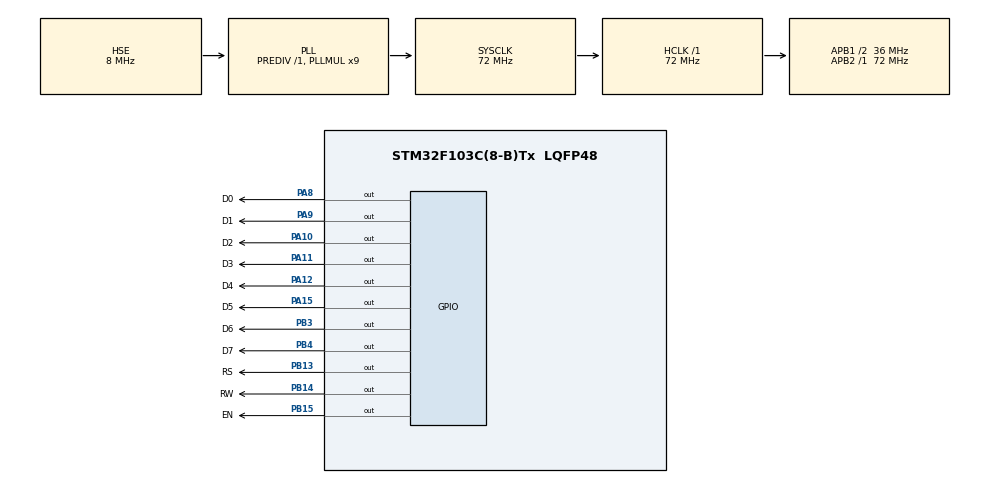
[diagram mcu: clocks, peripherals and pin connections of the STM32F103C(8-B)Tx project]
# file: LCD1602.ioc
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Mcu.Family=STM32F1
Mcu.Name=STM32F103C(8-B)Tx
Mcu.Package=LQFP48
NVIC.PriorityGroup=NVIC_PRIORITYGROUP_4
PA10.GPIO_Label=D2
PA10.GPIO_Speed=GPIO_SPEED_FREQ_HIGH
PA10.Signal=GPIO_Output
PA11.GPIO_Label=D3
PA11.GPIO_Speed=GPIO_SPEED_FREQ_HIGH
PA11.Signal=GPIO_Output
PA12.GPIO_Label=D4
PA12.GPIO_Speed=GPIO_SPEED_FREQ_HIGH
PA12.Signal=GPIO_Output
PA13.Mode=Serial_Wire
PA13.Signal=SYS_JTMS-SWDIO
PA14.Mode=Serial_Wire
PA14.Signal=SYS_JTCK-SWCLK
PA15.GPIO_Label=D5
PA15.GPIO_Speed=GPIO_SPEED_FREQ_HIGH
PA15.Signal=GPIO_Output
PA8.GPIO_Label=D0
PA8.GPIO_Speed=GPIO_SPEED_FREQ_HIGH
PA8.Signal=GPIO_Output
PA9.GPIO_Label=D1
PA9.GPIO_Speed=GPIO_SPEED_FREQ_HIGH
PA9.Signal=GPIO_Output
PB13.GPIO_Label=RS
PB13.GPIO_Speed=GPIO_SPEED_FREQ_HIGH
PB13.Signal=GPIO_Output
PB14.GPIO_Label=RW
PB14.GPIO_Speed=GPIO_SPEED_FREQ_HIGH
PB14.Signal=GPIO_Output
PB15.GPIO_Label=EN
PB15.GPIO_Speed=GPIO_SPEED_FREQ_HIGH
PB15.Signal=GPIO_Output
PB3.GPIO_Label=D6
PB3.GPIO_Speed=GPIO_SPEED_FREQ_HIGH
PB3.Signal=GPIO_Output
PB4.GPIO_Label=D7
PB4.GPIO_Speed=GPIO_SPEED_FREQ_HIGH
PB4.Signal=GPIO_Output
PD0-OSC_IN.Mode=HSE-External-Oscillator
PD0-OSC_IN.Signal=RCC_OSC_IN
PD1-OSC_OUT.Mode=HSE-External-Oscillator
PD1-OSC_OUT.Signal=RCC_OSC_OUT
ProjectManager.HeapSize=0x00
ProjectManager.StackSize=0x400
ProjectManager.TargetToolchain=MDK-ARM V5.32
RCC.AHBFreq_Value=72000000
RCC.APB1CLKDivider=RCC_HCLK_DIV2
RCC.APB1Freq_Value=36000000
RCC.APB1TimFreq_Value=72000000
RCC.APB2Freq_Value=72000000
RCC.APB2TimFreq_Value=72000000
RCC.HCLKFreq_Value=72000000
RCC.PLLMUL=RCC_PLL_MUL9
RCC.PLLSourceVirtual=RCC_PLLSOURCE_HSE
RCC.SYSCLKFreq_VALUE=72000000
RCC.SYSCLKSource=RCC_SYSCLKSOURCE_PLLCLK
RCC.USBFreq_Value=72000000
board=custom

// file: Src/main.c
/* USER CODE BEGIN Header */
/**
 ******************************************************************************
 * @file           : main.c
 * @brief          : Main program body
 ******************************************************************************
 * @attention
 *
 * Copyright (c) 2024 STMicroelectronics.
 * All rights reserved.
 *
 * This software is licensed under terms that can be found in the LICENSE file
 * in the root directory of this software component.
 * If no LICENSE file comes with this software, it is provided AS-IS.
 *
 ******************************************************************************
 */
/* USER CODE END Header */
#include "main.h"
#include "gpio.h"

/* USER CODE BEGIN Includes */
#include "show.h"
/* USER CODE END Includes */

void SystemClock_Config(void);

int main(void)
{

  /* MCU Configuration--------------------------------------------------------*/

  /* Reset of all peripherals, Initializes the Flash interface and the Systick. */
  HAL_Init();

  /* Configure the system clock */
  SystemClock_Config();

  /* Initialize all configured peripherals */
  MX_GPIO_Init();
  /* USER CODE BEGIN 2 */
  WriteCommand(0x01); // 清除显示
  WriteCommand(0x06); // AC自增，显示不发生位移
  WriteCommand(0x0f); // 开显示，游标显示，闪烁
  WriteCommand(0x3c); // 8位数据总线两行显示

  WriteCommand(0x40 + 0x00); // 设置CGRAM地址0
  WriteData(0);              // 自定义字模数据
  WriteData(0x0e);
  WriteData(0x15);
  WriteData(0x1f);
  WriteData(0x15);
  WriteData(0x12);
  WriteData(0x0e);
  // 显示
  WriteCommand(0x80); // 设置DDRAM地址
  WriteData(0);
  WriteData(0);
  WriteData(0);
  WriteData(0);
  WriteData(0);
  WriteData(0);
  WriteData(0);
  /* USER CODE END 2 */

  /* Infinite loop */
  while (1)
  {

  }
}

void SystemClock_Config(void)
{
  RCC_OscInitTypeDef RCC_OscInitStruct = {0};
  RCC_ClkInitTypeDef RCC_ClkInitStruct = {0};

  /** Initializes the RCC Oscillators according to the specified parameters
   * in the RCC_OscInitTypeDef structure.
   */
  RCC_OscInitStruct.OscillatorType = RCC_OSCILLATORTYPE_HSE;
  RCC_OscInitStruct.HSEState = RCC_HSE_ON;
  RCC_OscInitStruct.HSEPredivValue = RCC_HSE_PREDIV_DIV1;
  RCC_OscInitStruct.HSIState = RCC_HSI_ON;
  RCC_OscInitStruct.PLL.PLLState = RCC_PLL_ON;
  RCC_OscInitStruct.PLL.PLLSource = RCC_PLLSOURCE_HSE;
  RCC_OscInitStruct.PLL.PLLMUL = RCC_PLL_MUL9;
  if (HAL_RCC_OscConfig(&RCC_OscInitStruct) != HAL_OK)
  {
    Error_Handler();
  }

  /** Initializes the CPU, AHB and APB buses clocks
   */
  RCC_ClkInitStruct.ClockType = RCC_CLOCKTYPE_HCLK | RCC_CLOCKTYPE_SYSCLK | RCC_CLOCKTYPE_PCLK1 | RCC_CLOCKTYPE_PCLK2;
  RCC_ClkInitStruct.SYSCLKSource = RCC_SYSCLKSOURCE_PLLCLK;
  RCC_ClkInitStruct.AHBCLKDivider = RCC_SYSCLK_DIV1;
  RCC_ClkInitStruct.APB1CLKDivider = RCC_HCLK_DIV2;
  RCC_ClkInitStruct.APB2CLKDivider = RCC_HCLK_DIV1;

  if (HAL_RCC_ClockConfig(&RCC_ClkInitStruct, FLASH_LATENCY_2) != HAL_OK)
  {
    Error_Handler();
  }
}

void Error_Handler(void)
{
  __disable_irq();
  while (1)
  {
  }
}
